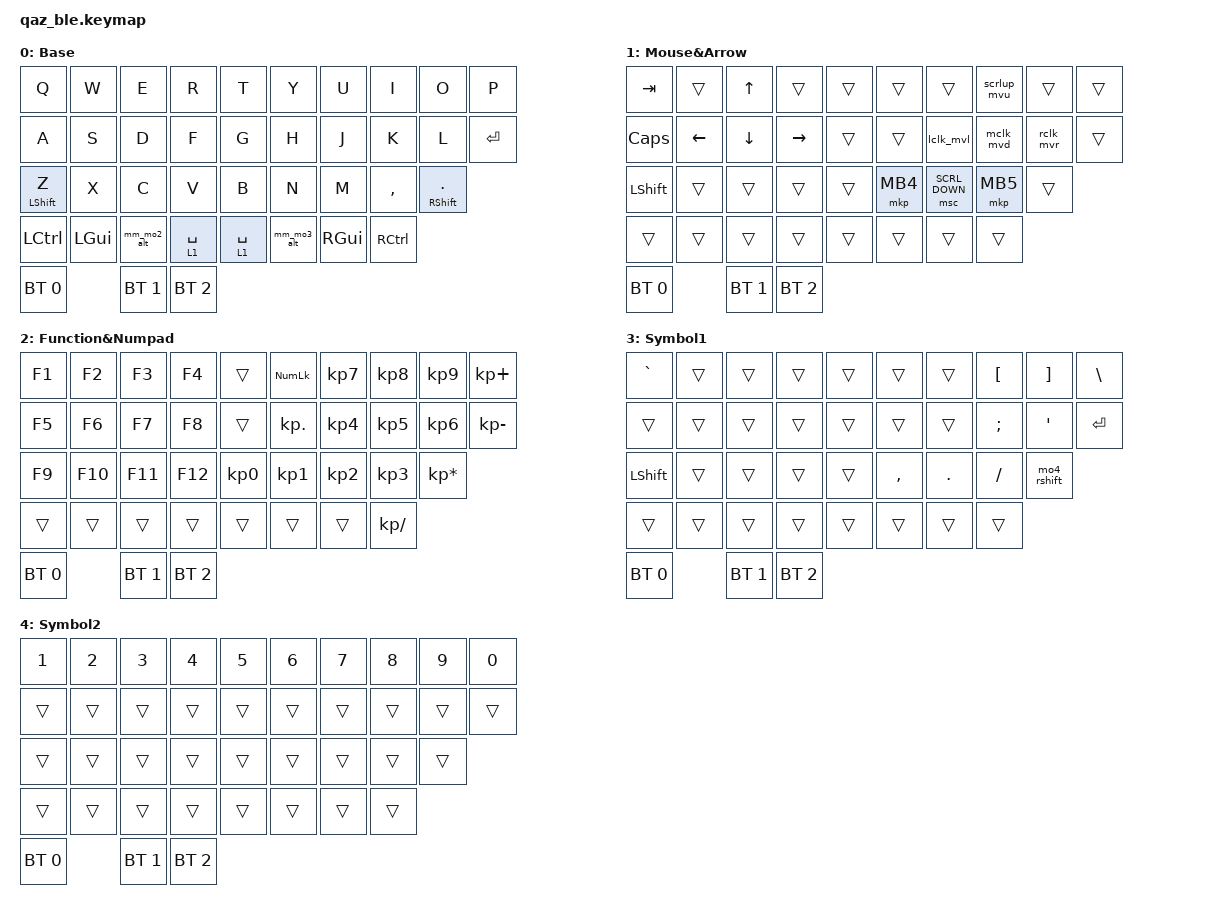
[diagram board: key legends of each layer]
#include <behaviors.dtsi>
#include <dt-bindings/zmk/keys.h>
#include <dt-bindings/zmk/bt.h>
#include <dt-bindings/zmk/pointing.h>

/ {
    combos {
        compatible = "zmk,combos";

        tab {
            bindings = <&kp TAB>;
            layers = <0>;
            key-positions = <0 1>;
        };

        backspace {
            bindings = <&bspc_del>;
            layers = <0>;
            key-positions = <8 9>;
            timeout-ms = <50>;
        };
        equal {
            bindings = <&kp EQUAL>;
            layers = <3 4>;
            key-positions = <8 9>;
        };
        minus {
            bindings = <&kp MINUS>;
            layers = <0 3 4>;
            key-positions = <7 8>;
        };
        escape {
            bindings = <&kp ESCAPE>;
            key-positions = <0 1 2>;
        };
    };

    behaviors {
        mmv {
            acceleration-exponent = <2>;
        };
        mm_mo1_alt: mm_mo1_alt {
            compatible = "zmk,behavior-mod-morph";
            #binding-cells = <0>;
            bindings = <&mo 1>, <&kp LALT>;
            mods = <(MOD_LCTL|MOD_LGUI|MOD_LSFT|MOD_RCTL|MOD_RGUI|MOD_RSFT)>;
            keep-mods = <(MOD_LCTL|MOD_LGUI|MOD_LSFT|MOD_RCTL|MOD_RGUI|MOD_RSFT)>;
        };
        mm_mo2_alt: mm_alt_mo2 {
            compatible = "zmk,behavior-mod-morph";
            #binding-cells = <0>;
            bindings = <&mo 2>, <&kp LALT>;
            mods = <(MOD_LCTL|MOD_LGUI|MOD_LSFT|MOD_RCTL|MOD_RGUI|MOD_RSFT)>;
            keep-mods = <(MOD_LCTL|MOD_LGUI|MOD_LSFT|MOD_RCTL|MOD_RGUI|MOD_RSFT)>;
        };
        mm_mo3_alt: mm_mo3_alt {
            compatible = "zmk,behavior-mod-morph";
            #binding-cells = <0>;
            bindings = <&mo 3>, <&kp RALT>;
            mods = <(MOD_LCTL|MOD_LGUI|MOD_LSFT|MOD_RCTL|MOD_RGUI|MOD_RSFT)>;
            keep-mods = <(MOD_LCTL|MOD_LGUI|MOD_LSFT|MOD_RCTL|MOD_RGUI|MOD_RSFT)>;
        };
        bspc_del: backspace_delete {
            compatible = "zmk,behavior-mod-morph";
            #binding-cells = <0>;
            bindings = <&kp BACKSPACE>, <&kp DELETE>;
            mods = <(MOD_LSFT|MOD_RSFT)>;
        };
        lclk_mvl: left_click_move_left {
            compatible = "zmk,behavior-mod-morph";
            #binding-cells = <0>;
            bindings = <&mkp LCLK>, <&mmv MOVE_LEFT>;
            mods = <(MOD_LSFT|MOD_RSFT)>;
        };
        mclk_mvd: middle_click_move_down {
            compatible = "zmk,behavior-mod-morph";
            #binding-cells = <0>;
            bindings = <&mkp MCLK>, <&mmv MOVE_DOWN>;
            mods = <(MOD_LSFT|MOD_RSFT)>;
        };
        rclk_mvr: right_click_move_right {
            compatible = "zmk,behavior-mod-morph";
            #binding-cells = <0>;
            bindings = <&mkp RCLK>, <&mmv MOVE_RIGHT>;
            mods = <(MOD_LSFT|MOD_RSFT)>;
        };
        scrlup_mvu: scroll_up_move_up {
            compatible = "zmk,behavior-mod-morph";
            #binding-cells = <0>;
            bindings = <&msc SCRL_UP>, <&mmv MOVE_UP>;
            mods = <(MOD_LSFT|MOD_RSFT)>;
        };
    };
    macros {
        mo4_rshift: mo4_rshift {
            compatible = "zmk,behavior-macro";
            #binding-cells = <0>;
            bindings
                = <&macro_press &mo 4 &kp RSHFT>
                , <&macro_pause_for_release>
                , <&macro_release &mo 4 &kp RSHFT>
                ;
        };
    };
    keymap {
        compatible = "zmk,keymap";

        layer_1 {
            display-name = "Base";
            bindings = <
                &kp Q    &kp W    &kp E    &kp R    &kp T    &kp Y    &kp U    &kp I    &kp O    &kp P
                &kp A    &kp S    &kp D    &kp F    &kp G    &kp H    &kp J    &kp K    &kp L    &kp RET
                &mt LSHIFT Z    &kp X    &kp C    &kp V    &kp B    &kp N    &kp M    &kp COMMA    &mt RSHFT PERIOD
                &kp LCTRL    &kp LGUI    &mm_mo2_alt   &lt 1 SPACE   &lt 1 SPACE    &mm_mo3_alt    &kp RGUI    &kp RCTRL
                &bt BT_SEL 0    &bt BT_SEL 1    &bt BT_SEL 2
            >;
        };
        layer_2 {
            display-name = "Mouse&Arrow";
            bindings = <
                &kp TAB    &trans    &kp UP_ARROW    &trans    &trans    &trans    &trans    &scrlup_mvu    &trans    &trans
                &kp CAPS    &kp LEFT_ARROW    &kp DOWN_ARROW    &kp RIGHT_ARROW    &trans    &trans    &lclk_mvl    &mclk_mvd    &rclk_mvr    &trans
                &kp LSHIFT    &trans    &trans    &trans    &trans    &mkp MB4    &msc SCRL_DOWN    &mkp MB5    &trans
                &trans    &trans    &trans    &trans    &trans    &trans    &trans    &trans
                &bt BT_SEL 0    &bt BT_SEL 1    &bt BT_SEL 2
            >;
        };
        layer_3 {
            display-name = "Function&Numpad";
            bindings = <
                &kp F1 &kp F2 &kp F3 &kp F4 &trans &kp KP_NUM &kp KP_N7 &kp KP_N8 &kp KP_N9 &kp KP_PLUS
                &kp F5    &kp F6    &kp F7    &kp F8    &trans    &kp KP_DOT    &kp KP_N4    &kp KP_N5    &kp KP_N6    &kp KP_MINUS
                &kp F9    &kp F10    &kp F11    &kp F12    &kp KP_N0    &kp KP_N1    &kp KP_N2    &kp KP_N3    &kp KP_MULTIPLY
                &trans    &trans    &trans    &trans    &trans    &trans    &trans    &kp KP_DIVIDE
                &bt BT_SEL 0    &bt BT_SEL 1    &bt BT_SEL 2 
            >;
        };
        layer_4 {
            display-name = "Symbol1";
            bindings = <
                &kp GRAVE    &trans    &trans    &trans    &trans    &trans    &trans    &kp LEFT_BRACKET    &kp RIGHT_BRACKET    &kp BACKSLASH
                &trans    &trans    &trans    &trans    &trans    &trans    &trans    &kp SEMICOLON    &kp SINGLE_QUOTE    &kp RET
                &kp LSHIFT    &trans    &trans    &trans    &trans    &kp COMMA    &kp PERIOD    &kp SLASH    &mo4_rshift
                &trans    &trans    &trans    &trans    &trans    &trans    &trans    &trans
                &bt BT_SEL 0    &bt BT_SEL 1    &bt BT_SEL 2
            >;
        };
        layer_5 {
            display-name = "Symbol2";
            bindings = <
                &kp N1    &kp N2    &kp N3    &kp N4    &kp N5    &kp N6    &kp N7    &kp N8    &kp N9    &kp N0
                &trans    &trans    &trans    &trans    &trans    &trans    &trans    &trans    &trans    &trans
                &trans    &trans    &trans    &trans    &trans    &trans    &trans    &trans    &trans
                &trans    &trans    &trans    &trans    &trans    &trans    &trans    &trans
                &bt BT_SEL 0    &bt BT_SEL 1    &bt BT_SEL 2
            >;
        };
    };
 };
